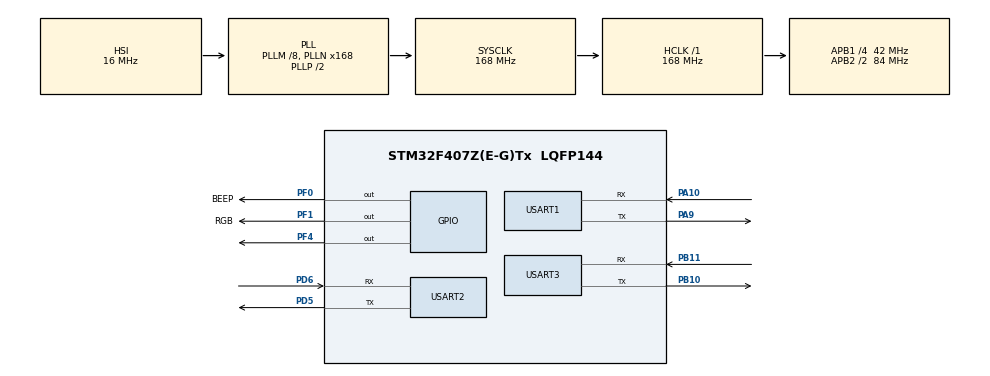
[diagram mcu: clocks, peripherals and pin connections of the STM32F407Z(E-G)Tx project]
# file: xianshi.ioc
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FREERTOS.Queues01=record,1,uint16_t,0,Dynamic,NULL,NULL;show,1,uint16_t,0,Dynamic,NULL,NULL
FREERTOS.Tasks01=defaultTask,0,128,StartDefaultTask,Default,NULL,Dynamic,NULL,NULL;uart1,-3,512,StartTask02,Default,NULL,Dynamic,NULL,NULL;myTask03,-3,128,StartTask03,Default,NULL,Dynamic,NULL,NULL;run_show,-3,1024,StartTask04,Default,NULL,Dynamic,NULL,NULL;Warn,-3,128,StartTask05,Default,NULL,Dynamic,NULL,NULL;recordShow,-3,1024,StartTask06,Default,NULL,Dynamic,NULL,NULL
Mcu.Family=STM32F4
Mcu.Name=STM32F407Z(E-G)Tx
Mcu.Package=LQFP144
NVIC.PriorityGroup=NVIC_PRIORITYGROUP_4
NVIC.TIM6_DAC_IRQn=true\:15\:0\:false\:false\:true\:false\:false\:true\:true
NVIC.TimeBase=TIM6_DAC_IRQn
NVIC.TimeBaseIP=TIM6
NVIC.USART1_IRQn=true\:5\:0\:false\:false\:true\:true\:true\:true\:true
NVIC.USART2_IRQn=true\:5\:0\:false\:false\:true\:true\:true\:true\:true
PA0-WKUP.Mode=SYS_WakeUp0
PA0-WKUP.Signal=SYS_WKUP
PA10.Mode=Asynchronous
PA10.Signal=USART1_RX
PA13.Mode=Serial_Wire
PA13.Signal=SYS_JTMS-SWDIO
PA14.Mode=Serial_Wire
PA14.Signal=SYS_JTCK-SWCLK
PA9.Mode=Asynchronous
PA9.Signal=USART1_TX
PB10.Mode=Asynchronous
PB10.Signal=USART3_TX
PB11.Mode=Asynchronous
PB11.Signal=USART3_RX
PD5.Mode=Asynchronous
PD5.Signal=USART2_TX
PD6.Mode=Asynchronous
PD6.Signal=USART2_RX
PF0.GPIO_Label=BEEP
PF0.Signal=GPIO_Output
PF1.GPIO_Label=RGB
PF1.GPIO_PuPd=GPIO_NOPULL
PF1.Signal=GPIO_Output
PF4.Signal=GPIO_Output
PH0-OSC_IN.Mode=HSE-External-Oscillator
PH0-OSC_IN.Signal=RCC_OSC_IN
PH1-OSC_OUT.Mode=HSE-External-Oscillator
PH1-OSC_OUT.Signal=RCC_OSC_OUT
ProjectManager.HeapSize=0x200
ProjectManager.StackSize=0x400
ProjectManager.TargetToolchain=MDK-ARM V5.32
RCC.48MHZClocksFreq_Value=84000000
RCC.AHBFreq_Value=168000000
RCC.APB1CLKDivider=RCC_HCLK_DIV4
RCC.APB1Freq_Value=42000000
RCC.APB1TimFreq_Value=84000000
RCC.APB2CLKDivider=RCC_HCLK_DIV2
RCC.APB2Freq_Value=84000000
RCC.APB2TimFreq_Value=168000000
RCC.CortexFreq_Value=168000000
RCC.HCLKFreq_Value=168000000
RCC.HSE_VALUE=8000000
RCC.HSI_VALUE=16000000
RCC.LSE_VALUE=32768
RCC.PLLM=8
RCC.PLLN=168
RCC.SYSCLKFreq_VALUE=168000000
RCC.SYSCLKSource=RCC_SYSCLKSOURCE_PLLCLK
RCC.VCOOutputFreq_Value=336000000
USART1.VirtualMode=VM_ASYNC
USART2.VirtualMode=VM_ASYNC
USART3.VirtualMode=VM_ASYNC
VP_FREERTOS_VS_CMSIS_V1.Mode=CMSIS_V1
VP_SYS_VS_tim6.Mode=TIM6
board=custom

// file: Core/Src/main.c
/* USER CODE BEGIN Header */
/**
  ******************************************************************************
  * @file           : main.c
  * @brief          : Main program body
  ******************************************************************************
  * @attention
  *
  * Copyright (c) 2025 STMicroelectronics.
  * All rights reserved.
  *
  * This software is licensed under terms that can be found in the LICENSE file
  * in the root directory of this software component.
  * If no LICENSE file comes with this software, it is provided AS-IS.
  *
  ******************************************************************************
  */
/* USER CODE END Header */
#include "main.h"
#include "cmsis_os.h"
#include "usart.h"
#include "gpio.h"

void SystemClock_Config(void);
void MX_FREERTOS_Init(void);

int main(void)
{

  /* MCU Configuration--------------------------------------------------------*/

  /* Reset of all peripherals, Initializes the Flash interface and the Systick. */
  HAL_Init();

  /* Configure the system clock */
  SystemClock_Config();

  /* Initialize all configured peripherals */
  MX_GPIO_Init();
  MX_USART1_UART_Init();
  MX_USART2_UART_Init();
  MX_USART3_UART_Init();
  /* USER CODE BEGIN 2 */
  uint8_t temp;
  HAL_UART_Receive_IT(&huart2,&temp,1); //开启第一次接收
  HAL_UART_Receive_IT(&huart1,&temp,1); //开启下一次接收
  /* USER CODE END 2 */

  /* Call init function for freertos objects (in cmsis_os2.c) */
  MX_FREERTOS_Init();

  /* Start scheduler */
  osKernelStart();

  /* We should never get here as control is now taken by the scheduler */

  /* Infinite loop */
  while (1)
  {

  }
}

void SystemClock_Config(void)
{
  RCC_OscInitTypeDef RCC_OscInitStruct = {0};
  RCC_ClkInitTypeDef RCC_ClkInitStruct = {0};

  /** Configure the main internal regulator output voltage
  */
  __HAL_RCC_PWR_CLK_ENABLE();
  __HAL_PWR_VOLTAGESCALING_CONFIG(PWR_REGULATOR_VOLTAGE_SCALE1);

  /** Initializes the RCC Oscillators according to the specified parameters
  * in the RCC_OscInitTypeDef structure.
  */
  RCC_OscInitStruct.OscillatorType = RCC_OSCILLATORTYPE_HSI;
  RCC_OscInitStruct.HSIState = RCC_HSI_ON;
  RCC_OscInitStruct.HSICalibrationValue = RCC_HSICALIBRATION_DEFAULT;
  RCC_OscInitStruct.PLL.PLLState = RCC_PLL_ON;
  RCC_OscInitStruct.PLL.PLLSource = RCC_PLLSOURCE_HSI;
  RCC_OscInitStruct.PLL.PLLM = 8;
  RCC_OscInitStruct.PLL.PLLN = 168;
  RCC_OscInitStruct.PLL.PLLP = RCC_PLLP_DIV2;
  RCC_OscInitStruct.PLL.PLLQ = 4;
  if (HAL_RCC_OscConfig(&RCC_OscInitStruct) != HAL_OK)
  {
    Error_Handler();
  }

  /** Initializes the CPU, AHB and APB buses clocks
  */
  RCC_ClkInitStruct.ClockType = RCC_CLOCKTYPE_HCLK|RCC_CLOCKTYPE_SYSCLK
                              |RCC_CLOCKTYPE_PCLK1|RCC_CLOCKTYPE_PCLK2;
  RCC_ClkInitStruct.SYSCLKSource = RCC_SYSCLKSOURCE_PLLCLK;
  RCC_ClkInitStruct.AHBCLKDivider = RCC_SYSCLK_DIV1;
  RCC_ClkInitStruct.APB1CLKDivider = RCC_HCLK_DIV4;
  RCC_ClkInitStruct.APB2CLKDivider = RCC_HCLK_DIV2;

  if (HAL_RCC_ClockConfig(&RCC_ClkInitStruct, FLASH_LATENCY_5) != HAL_OK)
  {
    Error_Handler();
  }
}

void HAL_TIM_PeriodElapsedCallback(TIM_HandleTypeDef *htim)
{
  if (htim->Instance == TIM6)
  {
    HAL_IncTick();
  }
}

void Error_Handler(void)
{
  __disable_irq();
  while (1)
  {
  }
}

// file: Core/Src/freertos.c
/* USER CODE BEGIN Header */
/**
 ******************************************************************************
 * File Name          : freertos.c
 * Description        : Code for freertos applications
 ******************************************************************************
 * @attention
 *
 * Copyright (c) 2025 STMicroelectronics.
 * All rights reserved.
 *
 * This software is licensed under terms that can be found in the LICENSE file
 * in the root directory of this software component.
 * If no LICENSE file comes with this software, it is provided AS-IS.
 *
 ******************************************************************************
 */
/* USER CODE END Header */

#include "FreeRTOS.h"
#include "task.h"
#include "main.h"
#include "cmsis_os.h"

/* USER CODE BEGIN Includes */
#include <stdio.h>
#include <stdlib.h>
#include <string.h>
#include "uart2.h"
#include <math.h>
#include "record.h"
/* USER CODE END Includes */

/* USER CODE BEGIN PTD */
SemaphoreHandle_t xUartSemaphore;
/* USER CODE END PTD */

/* USER CODE BEGIN Variables */
volatile uint8_t uart_processing = 0; // 0: idle, 1: processing
uint8_t warn_flag = 0;       // 0: no warn, 1: warn
/* USER CODE END Variables */
osThreadId defaultTaskHandle;
osThreadId uart1Handle;
osThreadId myTask03Handle;
osThreadId run_showHandle;
osThreadId WarnHandle;
osThreadId recordShowHandle;
osMessageQId recordHandle;
osMessageQId showHandle;

void StartDefaultTask(void const * argument);
void StartTask02(void const * argument);
void StartTask03(void const * argument);
void StartTask04(void const * argument);
void StartTask05(void const * argument);
void StartTask06(void const * argument);

void MX_FREERTOS_Init(void); /* (MISRA C 2004 rule 8.1) */

/* GetIdleTaskMemory prototype (linked to static allocation support) */
void vApplicationGetIdleTaskMemory( StaticTask_t **ppxIdleTaskTCBBuffer, StackType_t **ppxIdleTaskStackBuffer, uint32_t *pulIdleTaskStackSize );

/* USER CODE BEGIN GET_IDLE_TASK_MEMORY */
static StaticTask_t xIdleTaskTCBBuffer;
static StackType_t xIdleStack[configMINIMAL_STACK_SIZE];

void vApplicationGetIdleTaskMemory(StaticTask_t **ppxIdleTaskTCBBuffer, StackType_t **ppxIdleTaskStackBuffer, uint32_t *pulIdleTaskStackSize)
{
  *ppxIdleTaskTCBBuffer = &xIdleTaskTCBBuffer;
  *ppxIdleTaskStackBuffer = &xIdleStack[0];
  *pulIdleTaskStackSize = configMINIMAL_STACK_SIZE;
  /* place for user code */
}
/* USER CODE END GET_IDLE_TASK_MEMORY */

void MX_FREERTOS_Init(void) {

  /* Create the queue(s) */
  /* definition and creation of record */
  osMessageQDef(record, 1, uint16_t);
  recordHandle = osMessageCreate(osMessageQ(record), NULL);

  /* definition and creation of show */
  osMessageQDef(show, 1, uint16_t);
  showHandle = osMessageCreate(osMessageQ(show), NULL);

  /* Create the thread(s) */
  /* definition and creation of defaultTask */
  osThreadDef(defaultTask, StartDefaultTask, osPriorityNormal, 0, 128);
  defaultTaskHandle = osThreadCreate(osThread(defaultTask), NULL);

  /* definition and creation of uart1 */
  osThreadDef(uart1, StartTask02, osPriorityIdle, 0, 512);
  uart1Handle = osThreadCreate(osThread(uart1), NULL);

  /* definition and creation of myTask03 */
  osThreadDef(myTask03, StartTask03, osPriorityIdle, 0, 128);
  myTask03Handle = osThreadCreate(osThread(myTask03), NULL);

  /* definition and creation of run_show */
  osThreadDef(run_show, StartTask04, osPriorityIdle, 0, 1024);
  run_showHandle = osThreadCreate(osThread(run_show), NULL);

  /* definition and creation of Warn */
  osThreadDef(Warn, StartTask05, osPriorityIdle, 0, 128);
  WarnHandle = osThreadCreate(osThread(Warn), NULL);

  /* definition and creation of recordShow */
  osThreadDef(recordShow, StartTask06, osPriorityIdle, 0, 1024);
  recordShowHandle = osThreadCreate(osThread(recordShow), NULL);

}

void StartDefaultTask(void const * argument)
{
  /* USER CODE BEGIN StartDefaultTask */
  /* Infinite loop */
  for (;;)
  {
    HAL_GPIO_WritePin(GPIOF, GPIO_PIN_4, GPIO_PIN_SET);
    osDelay(500);
    HAL_GPIO_WritePin(GPIOF, GPIO_PIN_4, GPIO_PIN_RESET);
    osDelay(500);
  }
  /* USER CODE END StartDefaultTask */
}

/* USER CODE BEGIN Header_StartTask02 */
/**
 * @brief Function implementing the uart1 thread.
 * @param argument: Not used
 * @retval None
 */

/*
 * 语法：add main.s0.id,0,%d\xff\xff\xff，show[x]    (y=show[x])
 * 连接成功后，向 uart2 发送数据，更新界面
 * 屏幕的x=50<-->ch=128           y=30<-->cps=100
 * 屏幕的x=100<-->ch=256          y=65<-->cps=200
 * 屏幕的x=150<-->ch=512          y=98<-->cps=300
 * 屏幕的x=200<-->ch=768          y=130<-->cps=400
 * 屏幕的x=250<-->ch=1024
 * 屏幕的x=300<-->ch=1280
 * 屏幕的x=350<-->ch=1536
 * 屏幕的x=400<-->ch=1792
 */

/* USER CODE END Header_StartTask02 */
void StartTask02(void const * argument)
{
  /* USER CODE BEGIN StartTask02 */
  xUartSemaphore = xSemaphoreCreateBinary();
  configASSERT(xUartSemaphore);
  // 如果创建时信号量默认为"已给"，这里清除一次，确保从空状态开始
  xSemaphoreTake(xUartSemaphore, 0);
  printf("Hello FreeRTOS\r\n");
  u2printf("rest\xff\xff\xff");
  // printf("rest\xff\xff\xff");
  /* Infinite loop */
  for (;;)
  {
    if (xSemaphoreTake(xUartSemaphore, portMAX_DELAY) == pdTRUE)
    {
      u2printf("main.t2.txt=\"connect\"\xff\xff\xff");
      u2printf("road.t2.txt=\"connect\"\xff\xff\xff");
      u2printf("record.t2.txt=\"connect\"\xff\xff\xff");
      u2printf("setting.t2.txt=\"connect\"\xff\xff\xff");
      // co57_show();
      // co60_show();
      // co57_show_char();
      // co60_show_char();
      printf("Get Semaphore\r\n");
      /* 处理完成，允许再次响应 connect */
      uart_processing = 0;
    }
  }
  /* USER CODE END StartTask02 */
}

void StartTask03(void const * argument)
{
  /* USER CODE BEGIN StartTask03 */
  // float angle = 0.0f;  // 角度 (float)
  // int speed = 0;       // 速度 (int)
  // float time = 0.0f;   // 时间变量，用于生成曲线
  // const float step = 0.1f; // 时间步长 (秒)
  // const float angular_velocity = 10.0f; // 角速度 (度/秒)
  // const float radius = 1.0f; // 圆的半径 (单位长度)
  // char buffer[36];
  /* Infinite loop */
  for (;;)
  {
    // // 计算角度 (0 到 360 度)
    // angle = fmod(time * angular_velocity, 360.0f);

    // // 计算速度 (线速度)
    // speed = (int)(radius * angular_velocity);

    // // 通过 u2printf 发送数据
    // snprintf(buffer, sizeof(buffer), "#angle=%.2f,speed=%d$\r\n", angle, speed);
    // u2printf(buffer);

    // // 增加时间，形成曲线
    // time += step;

    // // 延时 100ms，控制发送频率
    osDelay(10);
  }
  /* USER CODE END StartTask03 */
}

/* USER CODE BEGIN Header_StartTask04 */
/**
 * @brief Function implementing the myTask04 thread.
 * @param argument: Not used
 * @retval None
 */

/*
 * 每次进入行驶路径界面自动打印数组，数组的0，0坐标在屏幕左上角
 * 语法：line x0,y0,x1,y1,color
 * 例子：line 10,460,50,0xff00
 * 画一条点（10,460）到点（50,240）的红色线段
 * 屏幕因控件优先级更高的问题，实际可显示的区域为
 *  *(0，70）-----------------------------------*(480,70)
 *  |                                               |
 *  |                                               |
 *  |       屏幕可显示区域                           |
 *  |                                               |
 *  |                                               |
 *  |                                               |
 *  *(0,270)------------------------------------*(480,270)
 */

/* USER CODE END Header_StartTask04 */
void StartTask04(void const * argument)
{
  /* USER CODE BEGIN StartTask04 */
  char buffer[100];
  uint16_t msg; // 用于接收消息
  /* Infinite loop */
  for (;;)
  {
    // 等待消息队列
    if (xQueueReceive(recordHandle, &msg, portMAX_DELAY) == pdTRUE)
    {
      // 收到消息后执行打印功能
      osDelay(200); // 确保界面已经切换到 record 页面
      snprintf(buffer, sizeof(buffer), "line %d,%d,%d,%d,%d\xff\xff\xff", 0, 70, 480, 70, 0);
      u2printf(buffer);
      printf("Record Command Sent\r\n");
    }
  }
  /* USER CODE END StartTask04 */
}

void StartTask05(void const * argument)
{
  /* USER CODE BEGIN StartTask05 */
  uint8_t i = 0;
  /* Infinite loop */
  for(;;)
  {
    if(i++ > 5 && warn_flag == 0) // 每5秒检查一次警告状态
    {
      i = 0;
      warn_flag = 1; // 假设有警告
    }
    else if(i++ > 5 && warn_flag == 1)
    {
      warn_flag = 0; // 清除警告标志
      i=0;
    }
    if(warn_flag == 1)
    {
    HAL_GPIO_WritePin(GPIOF, GPIO_PIN_0, GPIO_PIN_SET);
    HAL_GPIO_WritePin(GPIOF, GPIO_PIN_1, GPIO_PIN_SET);
    osDelay(500);
    HAL_GPIO_WritePin(GPIOF, GPIO_PIN_0, GPIO_PIN_RESET);
    HAL_GPIO_WritePin(GPIOF, GPIO_PIN_1, GPIO_PIN_RESET);
    osDelay(500);
    }
    else
    {
      HAL_GPIO_WritePin(GPIOF, GPIO_PIN_0, GPIO_PIN_SET);
      HAL_GPIO_WritePin(GPIOF, GPIO_PIN_1, GPIO_PIN_SET);
      osDelay(1000);
    }
  }
  /* USER CODE END StartTask05 */
}

void StartTask06(void const * argument)
{
  /* USER CODE BEGIN StartTask06 */
  uint16_t msg; // 用于接收消息
  /* Infinite loop */
  for(;;)
  {
    // 等待消息队列
    if (xQueueReceive(showHandle, &msg, portMAX_DELAY) == pdTRUE)
    {
      // 收到消息后执行打印功能
      osDelay(500); // 确保界面已经切换到 main 页面

      u2printf("cle s0.id,255\xff\xff\xff"); // 清除 id 显示区域
      if(msg=='1')
      {
        record_show_name(co57_record);
        record_show(co57_record);
        record_show_char(co57_record);
      }
      else if(msg=='2')
      {
        record_show_name(co60_record);
        record_show(co60_record);
        record_show_char(co60_record);
      }
      osDelay(1000);
    }
  }
  /* USER CODE END StartTask06 */
}
